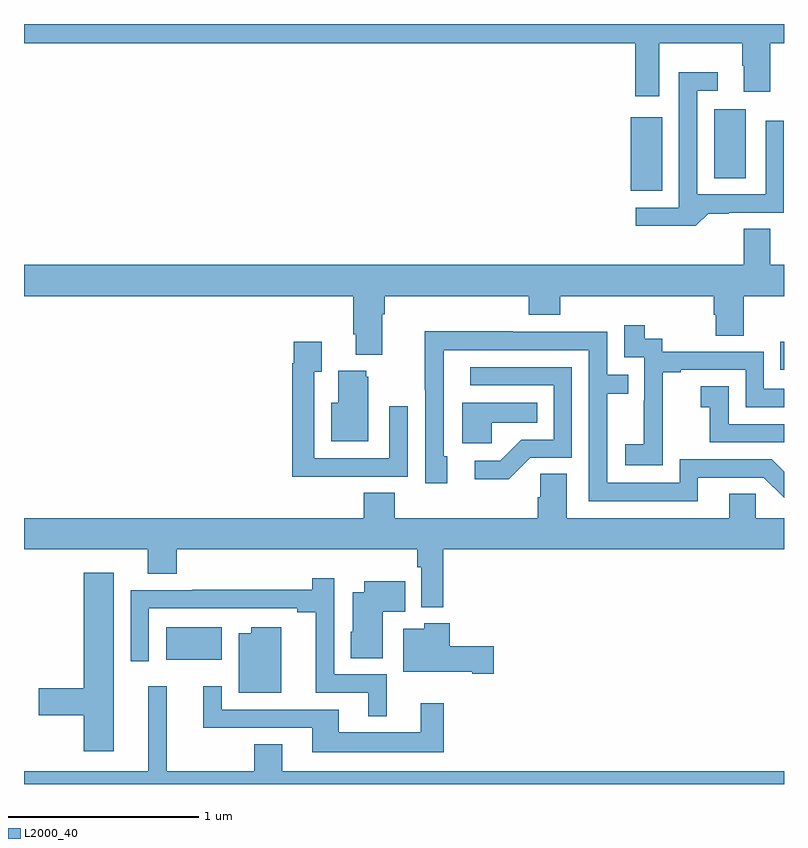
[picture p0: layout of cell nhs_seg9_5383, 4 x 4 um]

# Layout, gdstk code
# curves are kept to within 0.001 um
import gdstk
lib = gdstk.Library(unit=1e-6, precision=1e-09)
def R(c, l, rs):  # rectangles x0, y0, x1, y1
    for r in rs: c.add(gdstk.rectangle(r[:2], r[2:], *l))
def P(c, l, *ps):  # polygons
    for p in ps: c.add(gdstk.Polygon(p, *l))
L2000_40 = (2000, 40)

nhs_seg9_5383 = lib.new_cell('nhs_seg9_5383')
R(nhs_seg9_5383, L2000_40, [(423.749,1213.154,424.042,1213.324), (426.979,1214.679,427,1214.827), (426.194,1215.623,426.358,1216.009), (426.632,1215.688,426.799,1216.051)])
P(nhs_seg9_5383, L2000_40, [(426.343,1216.4),(426.781,1216.4),(426.781,1216.28),(426.788,1216.28),(426.788,1216.143),(426.928,1216.143),(426.928,1216.4),(427,1216.4),(427,1216.5),(423,1216.5),(423,1216.4),(426.218,1216.4),(426.218,1216.119),(426.343,1216.119)],
  [(426.601,1215.502),(426.709,1215.502),(426.709,1215.507),(426.999,1215.507),(426.999,1215.991),(426.903,1215.991),(426.903,1215.603),(426.543,1215.603),(426.543,1216.149),(426.652,1216.149),(426.652,1216.246),(426.447,1216.246),(426.447,1215.534),(426.219,1215.534),(426.219,1215.437),(426.536,1215.437)],
  [(424.885,1214.972),(424.898,1214.972),(424.898,1215.068),(425.657,1215.068),(425.657,1214.969),(425.822,1214.969),(425.822,1215.068),(426.629,1215.068),(426.629,1214.97),(426.641,1214.97),(426.641,1214.86),(426.789,1214.86),(426.789,1215.068),(427,1215.068),(427,1215.232),(426.928,1215.232),(426.928,1215.422),(426.788,1215.422),(426.788,1215.232),(423,1215.232),(423,1215.068),(424.733,1215.068),(424.733,1214.866),(424.745,1214.866),(424.745,1214.759),(424.885,1214.759)],
  [(426.363,1214.383),(426.362,1214.383),(426.362,1214.667),(426.457,1214.667),(426.457,1214.679),(426.798,1214.679),(426.798,1214.484),(427,1214.484),(427,1214.58),(426.894,1214.58),(426.894,1214.775),(426.36,1214.775),(426.36,1214.844),(426.268,1214.844),(426.268,1214.914),(426.159,1214.914),(426.159,1214.745),(426.264,1214.745),(426.264,1214.516),(426.263,1214.516),(426.263,1214.287),(426.165,1214.287),(426.165,1214.177),(426.363,1214.177)],
  [(426.547,1214.112),(426.894,1214.112),(427,1214.006),(427,1214.144),(426.936,1214.208),(426.45,1214.208),(426.45,1214.085),(426.069,1214.085),(426.069,1214.554),(426.179,1214.554),(426.179,1214.655),(426.069,1214.655),(426.069,1214.88),(425.573,1214.88),(425.573,1214.882),(425.11,1214.882),(425.11,1214.575),(425.112,1214.575),(425.112,1214.082),(425.227,1214.082),(425.227,1214.226),(425.208,1214.226),(425.209,1214.784),(425.973,1214.784),(425.973,1213.989),(426.547,1213.989)],
  [(424.703,1214.118),(425.019,1214.118),(425.019,1214.488),(424.923,1214.488),(424.923,1214.214),(424.527,1214.214),(424.527,1214.671),(424.567,1214.671),(424.567,1214.827),(424.419,1214.827),(424.419,1214.714),(424.411,1214.714),(424.411,1214.117),(424.703,1214.117)],
  [(425.664,1214.217),(425.883,1214.217),(425.883,1214.694),(425.349,1214.694),(425.349,1214.598),(425.787,1214.598),(425.787,1214.313),(425.618,1214.313),(425.507,1214.202),(425.373,1214.202),(425.373,1214.105),(425.551,1214.105)],
  [(424.813,1214.643),(424.802,1214.643),(424.802,1214.674),(424.655,1214.674),(424.655,1214.506),(424.616,1214.506),(424.616,1214.303),(424.813,1214.303)],
  [(427,1214.394),(426.708,1214.394),(426.708,1214.593),(426.561,1214.593),(426.561,1214.483),(426.61,1214.483),(426.61,1214.298),(427,1214.298)],
  [(425.463,1214.402),(425.702,1214.402),(425.702,1214.506),(425.306,1214.506),(425.306,1214.294),(425.463,1214.294)],
  [(425.207,1213.736),(427,1213.736),(427,1213.9),(426.852,1213.9),(426.852,1214.027),(426.713,1214.027),(426.713,1213.9),(425.857,1213.9),(425.857,1214.132),(425.718,1214.132),(425.718,1214.009),(425.705,1214.009),(425.705,1213.9),(424.952,1213.9),(424.952,1214.033),(424.787,1214.033),(424.787,1213.9),(423,1213.9),(423,1213.736),(423.65,1213.736),(423.65,1213.606),(423.803,1213.606),(423.803,1213.736),(425.071,1213.736),(425.071,1213.64),(425.091,1213.64),(425.091,1213.43),(425.207,1213.43)],
  [(423.472,1213.612),(423.314,1213.612),(423.314,1213.004),(423.078,1213.004),(423.078,1212.862),(423.314,1212.862),(423.314,1212.672),(423.472,1212.672)],
  [(424.909,1213.077),(424.632,1213.077),(424.632,1213.582),(424.516,1213.582),(424.516,1213.523),(423.886,1213.523),(423.886,1213.521),(423.561,1213.521),(423.561,1213.146),(423.657,1213.146),(423.657,1213.425),(424.439,1213.425),(424.439,1213.405),(424.535,1213.405),(424.535,1212.981),(424.811,1212.981),(424.811,1212.857),(424.909,1212.857)],
  [(424.888,1213.406),(425.006,1213.406),(425.006,1213.567),(424.79,1213.567),(424.79,1213.51),(424.73,1213.51),(424.73,1213.302),(424.721,1213.302),(424.721,1213.162),(424.888,1213.162)],
  [(425.473,1213.226),(425.24,1213.226),(425.24,1213.345),(425.106,1213.345),(425.106,1213.318),(424.997,1213.318),(424.997,1213.091),(425.36,1213.091),(425.36,1213.079),(425.473,1213.079)],
  [(424.354,1213.324),(424.196,1213.324),(424.196,1213.294),(424.13,1213.294),(424.13,1212.98),(424.354,1212.98)],
  [(425.209,1212.925),(425.087,1212.925),(425.087,1212.772),(424.657,1212.772),(424.657,1212.891),(424.041,1212.891),(424.041,1213.015),(423.944,1213.015),(423.944,1212.795),(424.517,1212.795),(424.517,1212.668),(425.209,1212.668)],
  [(427,1212.568),(424.36,1212.568),(424.36,1212.71),(424.213,1212.71),(424.213,1212.568),(423.752,1212.568),(423.752,1213.015),(423.653,1213.015),(423.653,1212.568),(423,1212.568),(423,1212.5),(427,1212.5)])

lib.write_gds('nhs_seg9_5383.gds')
